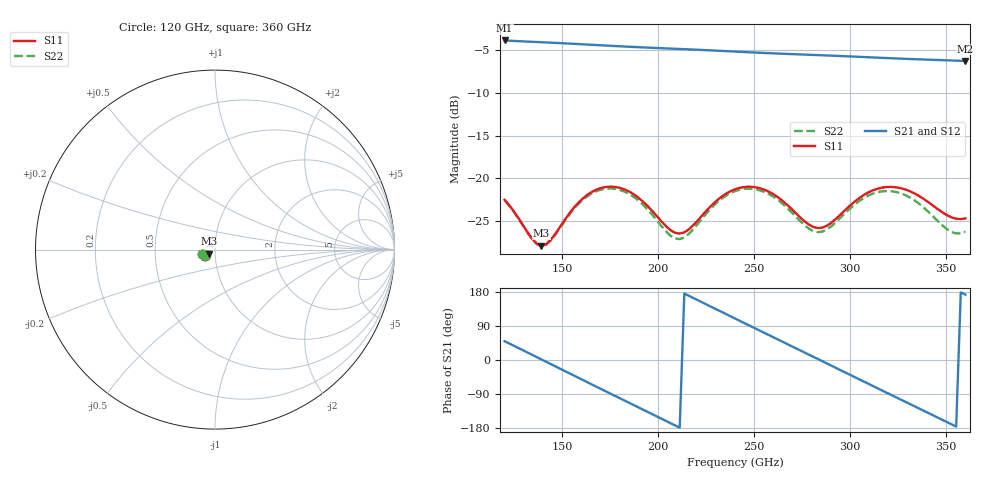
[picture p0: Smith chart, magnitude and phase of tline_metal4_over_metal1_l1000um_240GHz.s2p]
#  GHZ S DB R 50
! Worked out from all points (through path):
!   101 points, 120 GHz to 360 GHz, reference 50 ohm
!   highest |S21| = -3.85 dB at 120 GHz (marker M1); lowest = -6.3 dB at 360 GHz (marker M2)
!   group delay of S21, straight-line fit = 6.91 ps
!   lowest |S11| = -27.9 dB at 139.2 GHz (marker M3), VSWR 1.08, Z = 46.7 - j2.16 ohm
!   |S11| at or under -10 dB: start of sweep to end of sweep
!   |S22| runs from -27.9 to -21.2 dB; largest |S21 - S12| = 6.3e-14
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120  -22.51 -161.4  -3.85 49.6  -3.85 49.6  -22.58 -162.1
129.6  -25.49 -164.6  -3.96 25.5  -3.96 25.5  -25.55 -165.5
139.2  -27.86 -145.2  -4.06 1.4  -4.06 1.4  -27.93 -146.5
148.8  -25.70 -125.0  -4.16 -22.7  -4.16 -22.7  -25.81 -126.5
160.8  -22.34 -129.1  -4.30 -52.8  -4.30 -52.8  -22.49 -130.8
170.4  -21.11 -141.1  -4.42 -76.9  -4.42 -76.9  -21.30 -142.9
180  -21.11 -154.2  -4.53 -100.9  -4.53 -100.9  -21.34 -156.3
189.6  -22.24 -164.9  -4.64 -124.8  -4.64 -124.8  -22.57 -167.3
201.6  -25.01 -167.0  -4.76 -154.7  -4.76 -154.7  -25.56 -169.2
211.2  -26.46 -151.5  -4.85 -178.6  -4.85 -178.6  -27.11 -151.7
218.4  -25.45 -139.0  -4.92 163.4  -4.92 163.4  -25.91 -138.2
230.4  -22.61 -137.3  -5.05 133.4  -5.05 133.4  -22.86 -137.1
240  -21.27 -146.0  -5.15 109.5  -5.15 109.5  -21.49 -146.5
249.6  -21.00 -157.1  -5.26 85.7  -5.26 85.7  -21.23 -158.1
259.2  -21.75 -167.1  -5.35 61.9  -5.35 61.9  -22.03 -168.5
271.2  -23.96 -171.6  -5.46 32.2  -5.46 32.2  -24.36 -173.3
280.8  -25.69 -162.0  -5.55 8.4  -5.55 8.4  -26.18 -163.1
292.8  -24.69 -144.0  -5.65 -21.4  -5.65 -21.4  -25.07 -144.7
304.8  -22.29 -143.8  -5.77 -51.2  -5.77 -51.2  -22.63 -145.4
321.6  -21.00 -158.7  -5.94 -92.7  -5.94 -92.7  -21.51 -161.7
343.2  -23.20 -172.0  -6.12 -146.0  -6.12 -146.0  -24.45 -175.4
360  -24.69 -157.5  -6.25 172.4  -6.25 172.4  -26.23 -152.9
